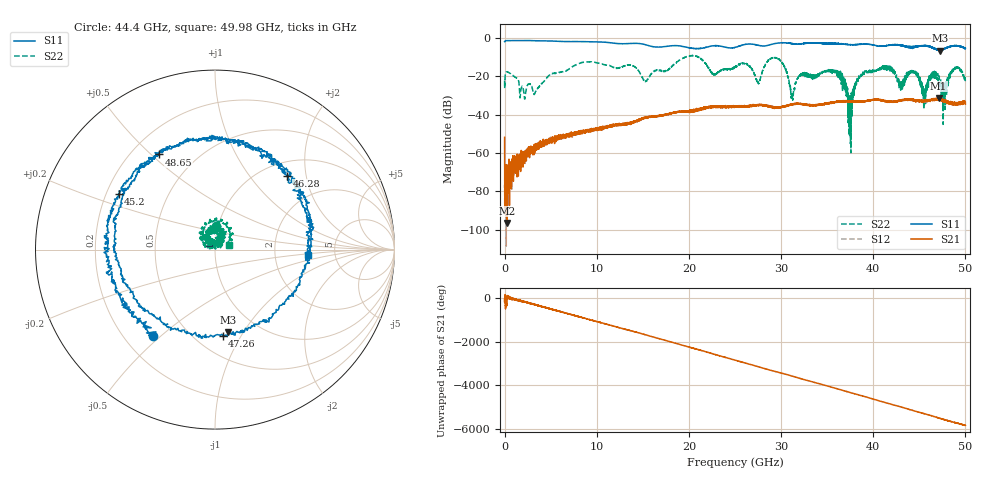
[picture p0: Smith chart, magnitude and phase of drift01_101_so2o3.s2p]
!Created with skrf (http://scikit-rf.org).
# Hz S RI R 50.0
!freq ReS11 ImS11 ReS21 ImS21 ReS12 ImS12 ReS22 ImS22
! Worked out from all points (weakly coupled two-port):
!   10001 points, 300 kHz to 50 GHz, reference 50 ohm
!   highest |S21| = -31.34 dB at 47.09 GHz (marker M1); lowest = -96.5 dB at 245.3 MHz (marker M2)
!   lowest |S11| = -6.6 dB at 47.24 GHz (marker M3), VSWR 2.75, Z = 36.6 - j43 ohm
!   |S11| at or under -10 dB: nowhere
!   |S22| runs from -59.9 to -9.2 dB; largest |S21 - S12| = 0.0035
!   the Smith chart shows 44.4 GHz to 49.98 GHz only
!   S11 on the Smith chart (normalised r, x): 44.4 GHz: 0.32, -0.47; 45.2 GHz: 0.25, +0.25; 46.28 GHz: 1.26, +1.56; 47.26 GHz: 0.67, -0.84; 48.65 GHz: 0.31, +0.53; 49.98 GHz: 3.13, -0.27
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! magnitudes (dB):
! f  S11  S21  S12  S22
! 300 kHz  -2.0  -51.9  -78.3  -22.2
! 245.3 MHz  -1.4  -96.5  -71.6  -17.7
! 3.29 GHz  -1.5  -58.3  -56.3  -28.8
! 8.335 GHz  -1.9  -49.5  -49.1  -12.9
! 16.67 GHz  -4.8  -40.9  -41.0  -16.7
! 25 GHz  -5.0  -35.6  -35.8  -15.4
! 29.59 GHz  -2.8  -36.4  -36.2  -10.7
! 31.24 GHz  -3.0  -34.8  -34.5  -31.9
! 33.34 GHz  -2.6  -35.0  -34.9  -19.6
! 36.2 GHz  -3.0  -33.3  -33.4  -19.7
! 37.49 GHz  -3.5  -33.1  -33.1  -39.1
! 38.65 GHz  -3.3  -33.2  -33.2  -20.1
! 41.67 GHz  -3.9  -33.3  -33.2  -16.3
! 44.4 GHz  -4.5  -32.4  -32.5  -17.5
! 45.2 GHz  -4.1  -33.1  -33.0  -23.9
! 46.28 GHz  -4.8  -32.5  -32.5  -19.3
! 47.09 GHz  -6.4  -31.3  -32.1  -21.7
! 47.24 GHz  -6.6  -32.2  -32.0  -25.5
! 47.26 GHz  -6.4  -32.0  -32.0  -24.5
! 48.65 GHz  -4.2  -33.8  -33.9  -16.9
! 49.98 GHz  -5.7  -34.1  -34.0  -21.6
! 50 GHz  -5.5  -34.6  -33.4  -21.4
